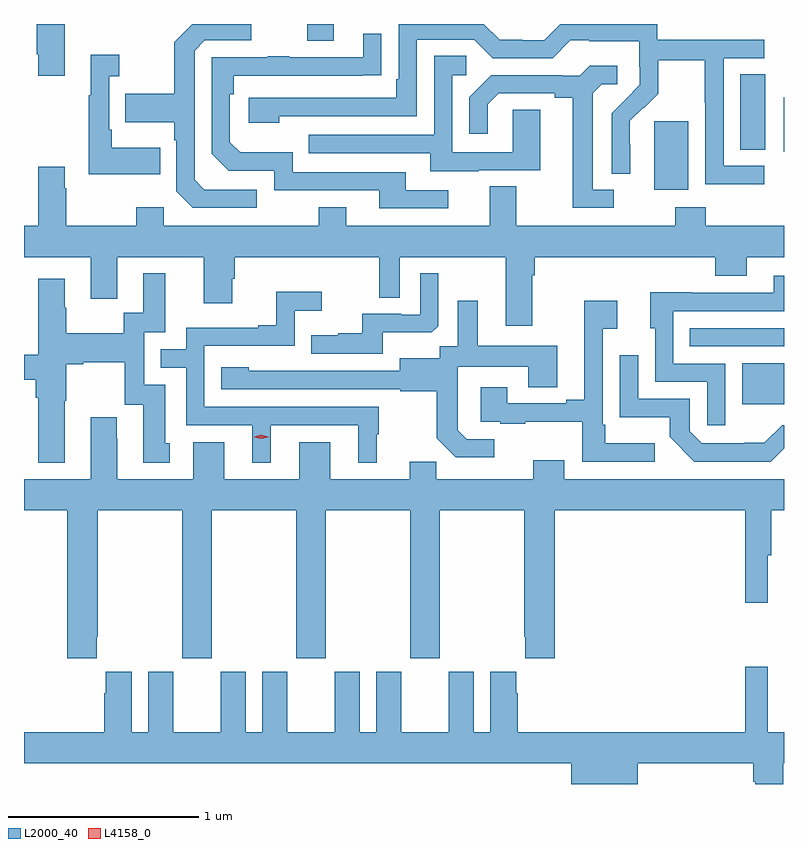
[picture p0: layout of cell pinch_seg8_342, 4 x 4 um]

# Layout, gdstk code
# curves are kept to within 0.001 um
import gdstk
lib = gdstk.Library(unit=1e-6, precision=1e-09)
def R(c, l, rs):  # rectangles x0, y0, x1, y1
    for r in rs: c.add(gdstk.rectangle(r[:2], r[2:], *l))
def P(c, l, *ps):  # polygons
    for p in ps: c.add(gdstk.Polygon(p, *l))
L2000_40 = (2000, 40)
L4158_0 = (4158, 0)

pinch_seg8_342 = lib.new_cell('pinch_seg8_342')
R(pinch_seg8_342, L2000_40, [(421.106,1138.37,421.326,1138.585), (420.829,1138.674,421.326,1138.77), (420.644,1139.498,420.823,1139.859), (421.325,1139.698,421.326,1139.986), (421.097,1139.71,421.228,1140.107), (418.817,1140.282,418.957,1140.371)])
P(pinch_seg8_342, L2000_40, [(421.222,1139.625),(421.008,1139.625),(421.008,1140.192),(421.222,1140.192),(421.222,1140.288),(420.66,1140.288),(420.66,1140.371),(420.149,1140.371),(420.063,1140.285),(419.948,1140.285),(419.948,1140.288),(419.829,1140.288),(419.746,1140.371),(419.298,1140.371),(419.298,1140.079),(419.285,1140.079),(419.285,1139.982),(418.509,1139.982),(418.509,1139.852),(418.67,1139.852),(418.67,1139.886),(419.394,1139.886),(419.394,1140.288),(419.697,1140.288),(419.793,1140.192),(420.108,1140.192),(420.201,1140.285),(420.301,1140.285),(420.301,1140.281),(420.564,1140.281),(420.564,1140.147),(420.566,1140.147),(420.566,1140.05),(420.42,1139.902),(420.42,1139.584),(420.516,1139.584),(420.515,1139.861),(420.585,1139.931),(420.588,1139.928),(420.665,1140.005),(420.665,1140.18),(420.91,1140.18),(420.91,1139.956),(420.912,1139.956),(420.912,1139.527),(421.222,1139.527)],
  [(417.541,1140.371),(417.394,1140.371),(417.394,1140.211),(417.401,1140.211),(417.401,1140.099),(417.541,1140.099)],
  [(418.552,1139.499),(418.275,1139.499),(418.224,1139.55),(418.224,1140.231),(418.278,1140.285),(418.522,1140.285),(418.522,1140.371),(418.211,1140.371),(418.116,1140.275),(418.116,1140.003),(417.859,1140.003),(417.859,1139.855),(418.116,1139.855),(418.116,1139.759),(418.128,1139.759),(418.128,1139.49),(418.215,1139.403),(418.552,1139.403)],
  [(419.56,1139.496),(419.335,1139.496),(419.335,1139.592),(418.74,1139.592),(418.74,1139.695),(418.463,1139.695),(418.41,1139.748),(418.41,1140.002),(418.43,1140.002),(418.43,1140.099),(419.207,1140.1),(419.207,1140.319),(419.111,1140.319),(419.111,1140.195),(418.721,1140.195),(418.721,1140.2),(418.609,1140.2),(418.609,1140.195),(418.314,1140.195),(418.314,1139.688),(418.404,1139.598),(418.644,1139.598),(418.644,1139.496),(419.195,1139.496),(419.195,1139.4),(419.56,1139.4)],
  [(418.043,1139.719),(417.787,1139.719),(417.787,1139.815),(417.774,1139.815),(417.774,1140.095),(417.826,1140.095),(417.826,1140.208),(417.677,1140.208),(417.677,1139.995),(417.666,1139.995),(417.666,1139.579),(418.043,1139.579)],
  [(419.719,1139.601),(420.043,1139.601),(420.043,1139.921),(419.898,1139.921),(419.898,1139.697),(419.58,1139.697),(419.58,1140.102),(419.653,1140.102),(419.653,1140.203),(419.484,1140.203),(419.484,1139.787),(418.825,1139.787),(418.825,1139.691),(419.465,1139.691),(419.465,1139.597),(419.719,1139.597)],
  [(420.43,1139.499),(420.319,1139.499),(420.319,1140.007),(420.366,1140.054),(420.448,1140.054),(420.448,1140.151),(420.304,1140.151),(420.252,1140.099),(420.158,1140.099),(420.158,1140.102),(419.786,1140.102),(419.67,1139.986),(419.67,1139.793),(419.767,1139.793),(419.767,1139.949),(419.824,1140.006),(420.119,1140.006),(420.119,1139.984),(420.215,1139.984),(420.215,1139.403),(420.43,1139.403)],
  [(420.001,1139.048),(420.014,1139.048),(420.014,1139.144),(420.965,1139.144),(420.965,1139.045),(421.129,1139.045),(421.129,1139.144),(421.326,1139.144),(421.326,1139.308),(420.914,1139.308),(420.914,1139.407),(420.754,1139.407),(420.754,1139.308),(419.917,1139.308),(419.917,1139.516),(419.777,1139.516),(419.777,1139.308),(419.023,1139.308),(419.023,1139.407),(418.876,1139.407),(418.876,1139.308),(418.062,1139.308),(418.062,1139.407),(417.916,1139.407),(417.916,1139.308),(417.549,1139.308),(417.549,1139.507),(417.541,1139.507),(417.541,1139.62),(417.401,1139.62),(417.401,1139.308),(417.326,1139.308),(417.326,1139.144),(417.677,1139.144),(417.677,1138.926),(417.817,1138.926),(417.817,1139.144),(418.271,1139.144),(418.271,1138.902),(418.423,1138.902),(418.423,1139.031),(418.436,1139.031),(418.436,1139.144),(419.196,1139.144),(419.196,1138.93),(419.304,1138.93),(419.304,1139.144),(419.861,1139.144),(419.861,1138.782),(420.001,1138.782)],
  [(417.541,1138.387),(417.549,1138.387),(417.549,1138.58),(417.637,1138.58),(417.637,1138.592),(417.857,1138.592),(417.857,1138.368),(417.953,1138.368),(417.953,1138.062),(418.093,1138.062),(418.093,1138.164),(418.069,1138.164),(418.069,1138.473),(417.96,1138.473),(417.96,1138.749),(418.069,1138.749),(418.069,1139.059),(417.953,1139.059),(417.953,1138.85),(417.852,1138.85),(417.852,1138.744),(417.549,1138.744),(417.549,1138.878),(417.541,1138.878),(417.541,1139.029),(417.401,1139.029),(417.401,1138.629),(417.326,1138.629),(417.326,1138.499),(417.389,1138.499),(417.389,1138.403),(417.401,1138.403),(417.401,1138.061),(417.541,1138.061)],
  [(419.215,1138.748),(419.473,1138.748),(419.505,1138.779),(419.505,1139.059),(419.412,1139.059),(419.412,1138.842),(419.312,1138.842),(419.312,1138.845),(419.105,1138.845),(419.105,1138.744),(418.981,1138.744),(418.981,1138.732),(418.837,1138.732),(418.837,1138.635),(419.215,1138.635)],
  [(421.017,1138.584),(420.744,1138.584),(420.744,1138.86),(421.326,1138.86),(421.326,1139.047),(421.271,1139.047),(421.271,1138.956),(420.841,1138.956),(420.841,1138.958),(420.623,1138.958),(420.623,1138.77),(420.648,1138.77),(420.648,1138.488),(420.921,1138.488),(420.921,1138.26),(421.017,1138.26)],
  [(418.624,1138.26),(419.084,1138.26),(419.084,1138.061),(419.182,1138.061),(419.182,1138.212),(419.194,1138.212),(419.194,1138.356),(418.275,1138.356),(418.275,1138.677),(418.752,1138.677),(418.752,1138.862),(418.894,1138.862),(418.894,1138.961),(418.654,1138.961),(418.654,1138.786),(418.559,1138.786),(418.559,1138.773),(418.179,1138.773),(418.179,1138.659),(418.045,1138.659),(418.045,1138.563),(418.179,1138.563),(418.179,1138.26),(418.526,1138.26),(418.526,1138.061),(418.624,1138.061)],
  [(420.646,1138.165),(420.385,1138.165),(420.385,1138.261),(420.372,1138.261),(420.372,1138.766),(420.448,1138.766),(420.448,1138.915),(420.275,1138.915),(420.275,1138.393),(420.179,1138.393),(420.179,1138.374),(419.869,1138.374),(419.869,1138.459),(419.729,1138.459),(419.729,1138.278),(419.833,1138.278),(419.833,1138.266),(419.965,1138.266),(419.965,1138.277),(420.264,1138.277),(420.264,1138.068),(420.646,1138.068)],
  [(419.8,1138.185),(419.655,1138.185),(419.608,1138.232),(419.608,1138.327),(419.61,1138.327),(419.61,1138.568),(419.981,1138.568),(419.981,1138.459),(420.133,1138.459),(420.133,1138.678),(419.713,1138.678),(419.713,1138.915),(419.609,1138.915),(419.609,1138.676),(419.514,1138.676),(419.514,1138.612),(419.303,1138.612),(419.303,1138.545),(418.509,1138.546),(418.509,1138.564),(418.365,1138.564),(418.365,1138.449),(419.307,1138.449),(419.307,1138.437),(419.499,1138.437),(419.499,1138.191),(419.599,1138.091),(419.8,1138.091)],
  [(421.326,1138.137),(421.326,1138.26),(421.317,1138.26),(421.223,1138.166),(421.118,1138.166),(421.118,1138.164),(420.894,1138.164),(420.831,1138.227),(420.831,1138.398),(420.558,1138.398),(420.558,1138.627),(420.462,1138.627),(420.462,1138.301),(420.724,1138.301),(420.724,1138.199),(420.854,1138.068),(421.257,1138.068)],
  [(417.709,1137.145),(417.714,1137.145),(417.714,1137.812),(418.159,1137.812),(418.159,1137.033),(418.314,1137.033),(418.314,1137.812),(418.759,1137.812),(418.759,1137.033),(418.914,1137.033),(418.914,1137.812),(419.359,1137.812),(419.359,1137.033),(419.514,1137.033),(419.514,1137.812),(419.959,1137.812),(419.959,1137.145),(419.963,1137.145),(419.963,1137.033),(420.119,1137.033),(420.119,1137.812),(421.123,1137.812),(421.123,1137.324),(421.241,1137.324),(421.241,1137.576),(421.259,1137.576),(421.259,1137.812),(421.326,1137.812),(421.326,1137.976),(420.169,1137.976),(420.169,1138.075),(420.005,1138.075),(420.005,1137.976),(419.495,1137.976),(419.495,1138.067),(419.357,1138.067),(419.357,1137.976),(418.939,1137.976),(418.939,1138.171),(418.775,1138.171),(418.775,1137.976),(418.381,1137.976),(418.381,1138.171),(418.217,1138.171),(418.217,1137.976),(417.817,1137.976),(417.817,1138.187),(417.814,1138.187),(417.814,1138.3),(417.677,1138.3),(417.677,1137.976),(417.326,1137.976),(417.326,1137.812),(417.554,1137.812),(417.554,1137.033),(417.709,1137.033)],
  [(420.556,1136.48),(421.163,1136.48),(421.163,1136.384),(421.175,1136.384),(421.175,1136.371),(421.323,1136.371),(421.323,1136.48),(421.326,1136.48),(421.326,1136.644),(421.24,1136.644),(421.24,1136.989),(421.123,1136.989),(421.123,1136.644),(419.924,1136.644),(419.924,1136.849),(419.917,1136.849),(419.917,1136.962),(419.78,1136.962),(419.78,1136.644),(419.692,1136.644),(419.692,1136.962),(419.561,1136.962),(419.561,1136.644),(419.311,1136.644),(419.311,1136.962),(419.18,1136.962),(419.18,1136.644),(419.092,1136.644),(419.092,1136.962),(418.961,1136.962),(418.961,1136.644),(418.711,1136.644),(418.711,1136.962),(418.58,1136.962),(418.58,1136.644),(418.492,1136.644),(418.492,1136.962),(418.361,1136.962),(418.361,1136.644),(418.111,1136.644),(418.111,1136.962),(417.98,1136.962),(417.98,1136.644),(417.892,1136.644),(417.892,1136.962),(417.755,1136.962),(417.755,1136.849),(417.749,1136.849),(417.749,1136.644),(417.326,1136.644),(417.326,1136.48),(420.206,1136.48),(420.206,1136.371),(420.556,1136.371)])
P(pinch_seg8_342, L4158_0, [(418.575,1138.188),(418.539,1138.197),(418.539,1138.198),(418.539,1138.198),(418.575,1138.208),(418.611,1138.198),(418.611,1138.198),(418.611,1138.197)])

lib.write_gds('pinch_seg8_342.gds')
